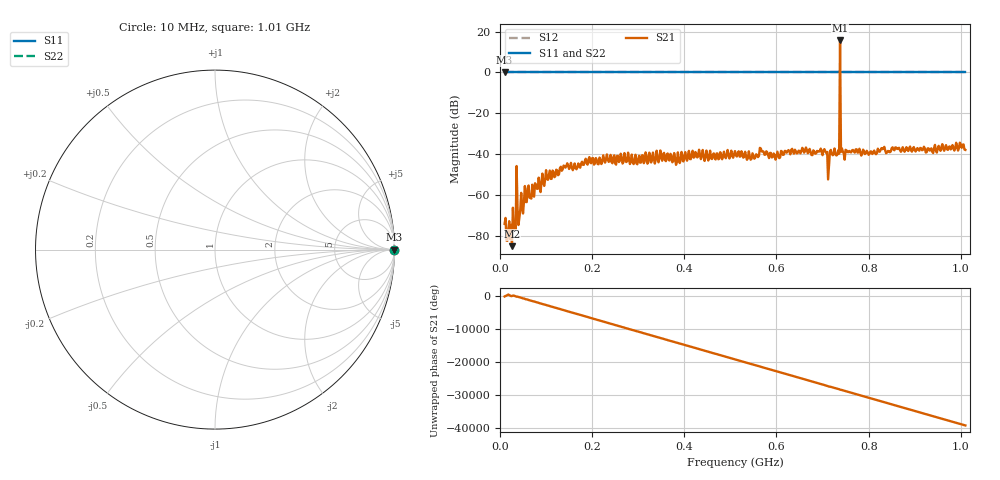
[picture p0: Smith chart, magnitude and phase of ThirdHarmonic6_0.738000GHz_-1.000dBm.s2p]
! 8/16/2025 12:42:18 AM
! C:\ANRITSUVNA\TEMP\TEMP.S2P
! CHANNEL.1
! TR.MEASUREMENT
! RAW.DATA
! RF.CORRECTION.OFF
! AVERAGING.OFF
! IF.BANDWIDTH: 5KHZ
! SWEEPTYPE:  FREQ.SWEEP(Linear)
! Reference Plane Port Info
! PORT:  PORT1  PORT2
! DISTANCE:  0  m  0  m
! TIME:  0  s  0  s
! PHASE.OFFSET:  0  deg.  0  deg.
! LOSS:  0  dB  0  dB
! REF.LOSS:  0  dB  0  dB
! REF.FREQ:  0  Hz  0  Hz
! Power Info
! POWER:  -20  dBm  -20  dBm
! EFF.POWER:  -20  dBm  -20  dBm
! SOURCE.ATTEN:  0  dB  0  dB
! TEST.ATTEN:  0  dB  0  dB
# GHZ S RI R 50.0
! FREQ.GHZ  S11RE  S11IM  S21RE  S21IM  S12RE  S12IM  S22RE  S22IM
!; PortSelection: Port_12
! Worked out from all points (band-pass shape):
!   501 points, 10 MHz to 1.01 GHz, reference 50 ohm
!   highest |S21| = 15.71 dB at 738 MHz (marker M1); lowest = -85.2 dB at 26 MHz (marker M2)
!   |S21| within 3 dB of the highest: 737.892 MHz to 738.1098 MHz (217.9 kHz wide, 0.0295 % of centre)
!   lowest |S11| = 0.0 dB at 10 MHz (marker M3)
!   |S11| at or under -10 dB: nowhere
!   |S22| runs from 0.0 to 0.0 dB; largest |S21 - S12| = 5.1
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0.01  1 0  -0.000193 -2.22e-05  1 0  1 0
0.018  1 0  8.36e-05 0.000113  1 0  1 0
0.026  1 0  5.21e-05 -1.78e-05  1 0  1 0
0.03  1 0  -5.8e-06 0.000145  1 0  1 0
0.032  1 0  0.000179 -5.3e-05  1 0  1 0
0.044  1 0  -6.4e-05 -0.000419  1 0  1 0
0.058  1 0  0.000561 0.000353  1 0  1 0
0.07  1 0  -0.00104 -0.00143  1 0  1 0
0.142  1 0  -0.00406 -0.00225  1 0  1 0
0.178  1 0  -0.00612 -0.00215  1 0  1 0
0.344  1 0  0.00626 0.000232  1 0  1 0
0.51  1 0  -0.0118 0.000553  1 0  1 0
0.678  1 0  0.00275 -0.00901  1 0  1 0
0.706  1 0  -0.00694 -0.00936  1 0  1 0
0.712  1 0  0.00191 -0.00143  1 0  1 0
0.732  1 0  0.00265 -0.00927  1 0  1 0
0.734  1 0  -0.0112 -0.00523  1 0  1 0
0.738  1 0  6.104 -0.1226  1 0  1 0
0.742  1 0  -0.00668 -0.012  1 0  1 0
0.744  1 0  -0.00941 0.00676  1 0  1 0
0.844  1 0  -0.00321 0.0113  1 0  1 0
1.01  1 0  0.00553 -0.0113  1 0  1 0
